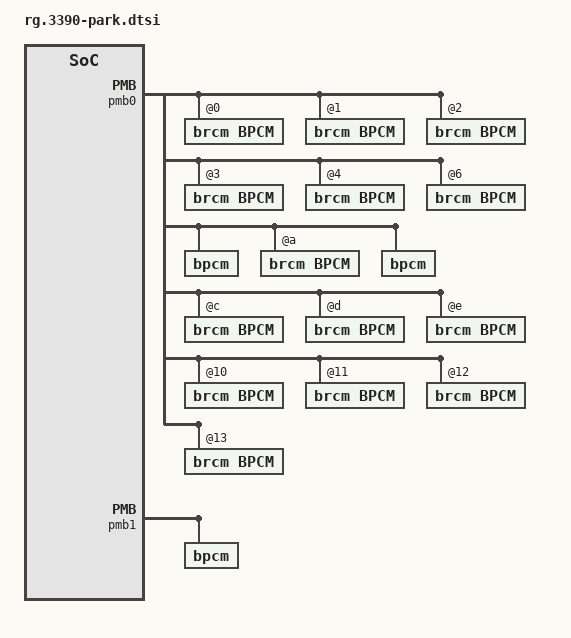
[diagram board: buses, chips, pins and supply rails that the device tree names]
/include/ "rg.3390-batt.dtsi"

&pmb0 {
	bpcm@0x0 {
		compatible = "brcm,bpcm";
		reg = <0x0>;
		dev-name = "bpcm-dtp";
		zones = <3>;
		zone-init-pwr = <0x0>;
	};

	bpcm@0x1 {
		compatible = "brcm,bpcm";
		reg = <0x1>;
		dev-name = "bpcm-dfap";
		zones = <3>;
		zone-init-pwr = <0x0>;
	};

	bpcm@0x2 {
		compatible = "brcm,bpcm";
		reg = <0x2>;
		dev-name = "bpcm-d3dsmac32";
		zones = <6>;
		zone-init-pwr = <0x0>;
	};

	bpcm@0x3 {
		compatible = "brcm,bpcm";
		reg = <0x3>;
		dev-name = "bpcm-dsmacofda";
		zones = <1>;
		zone-init-pwr = <0x0>;
	};

	bpcm@0x4 {
		compatible = "brcm,bpcm";
		reg = <0x4>;
		dev-name = "bpcm-dsmacofdb";
		zones = <1>;
		zone-init-pwr = <0x0>;
	};

	bpcm_utp: bpcm@0x5 {
		status = "disabled";	/* Causes bus hang on B0 so disable for all */
		compatible = "brcm,bpcm";
		reg = <0x5>;
		dev-name = "bpcm-utp";
		zones = <5>;
		zone-init-pwr = <0x0>;
	};

	bpcm@0x6 {
		compatible = "brcm,bpcm";
		reg = <0x6>;
		dev-name = "bpcm-periph";
		zones = <3>;
		zone-init-pwr = <0x0>;
	};

	bpcm@0x7 {
		zone-init-pwr = <0x0>;
	};

	bpcm@0xa {
		compatible = "brcm,bpcm";
		reg = <0xa>;
		dev-name = "bpcm-apm";
		zones = <6>;
		zone-init-pwr = <0x0>;
	};

	bpcm@0xb {
		zone-init-pwr = <0x0>;
	};

	bpcm@0xc {
		compatible = "brcm,bpcm";
		reg = <0xc>;
		dev-name = "bpcm-usmac";
		zones = <13>;
		zone-init-pwr = <0x0>;
	};

	bpcm@0xd {
		compatible = "brcm,bpcm";
		reg = <0xd>;
		dev-name = "bpcm-tc8x";
		zones = <9>;
		zone-init-pwr = <0x0>;
	};

	bpcm@0xe {
		compatible = "brcm,bpcm";
		reg = <0xe>;
		dev-name = "bpcm-tcofdm";
		zones = <5>;
		zone-init-pwr = <0x0>;
	};

	bpcm@0x10 {
		compatible = "brcm,bpcm";
		reg = <0x10>;
		dev-name = "bpcm-mips";
		zones = <1>;
		zone-init-pwr = <0x0>;
	};

	bpcm@0x11 {
		compatible = "brcm,bpcm";
		reg = <0x11>;
		dev-name = "bpcm-ustop";
		zones = <1>;
		zone-init-pwr = <0x0>;
	};

	bpcm@0x12 {
		compatible = "brcm,bpcm";
		reg = <0x12>;
		dev-name = "bpcm-leap";
		zones = <1>;
		zone-init-pwr = <0x0>;
	};


	bpcm@0x13 {
		compatible = "brcm,bpcm";
		reg = <0x13>;
		dev-name = "bpcm-emc";
		zones = <1>;
		zone-init-pwr = <0x0>;
	};
};

&pmb1 {
	bpcm@0x0 {
		zone-init-pwr = <0x0>;
	};
};

/ {
	/delete-node/fpm@0xd3a00000;
	/delete-node/dqm@d3800000;
	/delete-node/rpcrgcm;
	/delete-node/rpcsvmcm;
	/delete-node/q-channel0;
	/delete-node/q-channel1;
	/delete-node/rfapskb;
	/delete-node/mdqmrx0;
	/delete-node/mdqmrx1;
	/delete-node/mdqmrx2;
	/delete-node/mdqmtx;
	/delete-node/priv0;
	/delete-node/mdio@d4e403c0;
	/delete-node/ethsw@d4e00000;
	/delete-node/pinmux@f0404100;
};
